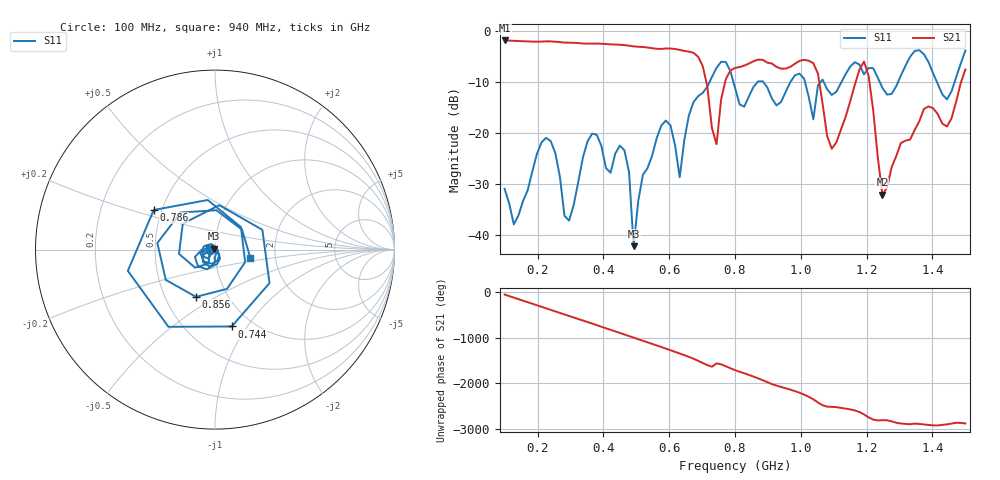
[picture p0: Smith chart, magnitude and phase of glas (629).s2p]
! NanoVNA-App
! Date: 2025-09-25 16:00:22
! Start: 100MHz Stop: 1,5GHz Points: 101
! S-Parameter data: F S11 S21 S12 S22
# Hz S RI R 50
!  Frequency  S11_Real  S11_Imag  S21_Real  S21_Imag  S12_Real  S12_Imag  S22_Real  S22_Imag
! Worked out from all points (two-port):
!   101 points, 100 MHz to 1.5 GHz, reference 50 ohm
!   highest |S21| = -1.80 dB at 100 MHz (marker M1); lowest = -32.1 dB at 1.248 GHz (marker M2)
!   |S21| within 3 dB of the highest: start of sweep to 684.3 MHz
!   lowest |S11| = -42.2 dB at 492 MHz (marker M3), VSWR 1.02, Z = 49.5 + j0.602 ohm
!   |S11| at or under -10 dB: start of sweep to 722.4 MHz; 795.4 MHz to 868 MHz (72.62 MHz wide, 8.73 % of centre); 886.3 MHz to 967.9 MHz (81.63 MHz wide, 8.81 % of centre) (the widest 3 of 7)
!   S12 and S22 are empty: the file has one direction only
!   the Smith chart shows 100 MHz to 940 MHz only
!   S11 on the Smith chart (normalised r, x): 100 MHz: 0.94, -0.01; 744 MHz: 0.80, -0.85; 786 MHz: 0.45, +0.24; 856 MHz: 0.71, -0.41; 940 MHz: 1.48, -0.14
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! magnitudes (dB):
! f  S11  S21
! 100 MHz  -30.9  -1.8
! 128 MHz  -37.9  -1.9
! 226 MHz  -20.9  -2.0
! 296 MHz  -37.2  -2.2
! 338 MHz  -24.8  -2.4
! 464 MHz  -23.4  -2.7
! 492 MHz  -42.2  -3.0
! 576 MHz  -18.5  -3.5
! 632 MHz  -28.7  -3.7
! 702 MHz  -12.1  -6.8
! 744 MHz  -7.2  -22.2
! 786 MHz  -7.8  -7.7
! 800 MHz  -11.1  -7.2
! 856 MHz  -10.9  -5.9
! 940 MHz  -13.9  -7.3
! 996 MHz  -8.3  -5.8
! 1.038 GHz  -17.3  -6.3
! 1.094 GHz  -12.5  -23.1
! 1.192 GHz  -8.5  -5.9
! 1.248 GHz  -11.1  -32.1
! 1.276 GHz  -12.3  -26.6
! 1.5 GHz  -3.8  -7.5
